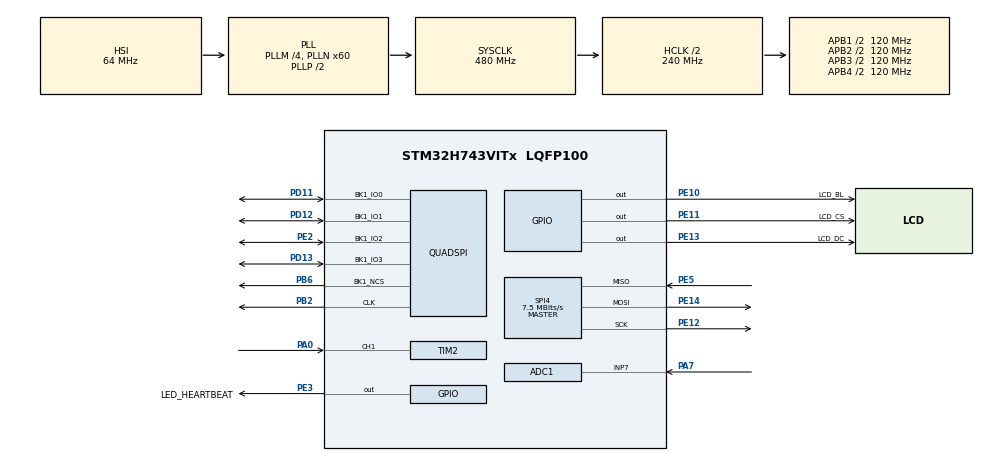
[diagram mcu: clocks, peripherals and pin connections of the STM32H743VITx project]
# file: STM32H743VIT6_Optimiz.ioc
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ADC1.Channel-3\#ChannelRegularConversion=ADC_CHANNEL_7
ADC1.ContinuousConvMode=DISABLE
ADC1.ConversionDataManagement=ADC_CONVERSIONDATA_DMA_CIRCULAR
ADC1.ExternalTrigConv=ADC_EXTERNALTRIG_T6_TRGO
ADC1.NbrOfConversionFlag=1
ADC1.OffsetNumber-3\#ChannelRegularConversion=ADC_OFFSET_NONE
ADC1.OffsetSignedSaturation-3\#ChannelRegularConversion=DISABLE
ADC1.Rank-3\#ChannelRegularConversion=1
ADC1.Resolution=ADC_RESOLUTION_12B
ADC1.SamplingTime-3\#ChannelRegularConversion=ADC_SAMPLETIME_1CYCLE_5
ADC1.master=1
CORTEX_M7.default_mode_Activation=1
Dma.ADC1.0.Direction=DMA_PERIPH_TO_MEMORY
Dma.ADC1.0.EventEnable=DISABLE
Dma.ADC1.0.FIFOMode=DMA_FIFOMODE_DISABLE
Dma.ADC1.0.Instance=DMA1_Stream0
Dma.ADC1.0.MemDataAlignment=DMA_MDATAALIGN_HALFWORD
Dma.ADC1.0.MemInc=DMA_MINC_ENABLE
Dma.ADC1.0.Mode=DMA_CIRCULAR
Dma.ADC1.0.PeriphDataAlignment=DMA_PDATAALIGN_HALFWORD
Dma.ADC1.0.PeriphInc=DMA_PINC_DISABLE
Dma.ADC1.0.Polarity=HAL_DMAMUX_REQ_GEN_RISING
Dma.ADC1.0.Priority=DMA_PRIORITY_LOW
Dma.ADC1.0.RequestNumber=1
Dma.ADC1.0.SignalID=NONE
Dma.ADC1.0.SyncEnable=DISABLE
Dma.ADC1.0.SyncPolarity=HAL_DMAMUX_SYNC_NO_EVENT
Dma.ADC1.0.SyncRequestNumber=1
Dma.ADC1.0.SyncSignalID=NONE
Dma.Request0=ADC1
Mcu.Family=STM32H7
Mcu.Name=STM32H743VITx
Mcu.Package=LQFP100
NVIC.DMA1_Stream0_IRQn=true\:0\:0\:false\:false\:true\:false\:true\:true
NVIC.PriorityGroup=NVIC_PRIORITYGROUP_4
PA0.Signal=S_TIM2_CH1_ETR
PA7.Signal=ADCx_INP7
PB2.Mode=Single Bank 1
PB2.Signal=QUADSPI_CLK
PB6.Mode=Single Bank 1
PB6.Signal=QUADSPI_BK1_NCS
PC14-OSC32_IN\ (OSC32_IN).Mode=LSE-External-Oscillator
PC14-OSC32_IN\ (OSC32_IN).Signal=RCC_OSC32_IN
PC15-OSC32_OUT\ (OSC32_OUT).Mode=LSE-External-Oscillator
PC15-OSC32_OUT\ (OSC32_OUT).Signal=RCC_OSC32_OUT
PD11.Mode=Single Bank 1
PD11.Signal=QUADSPI_BK1_IO0
PD12.Mode=Single Bank 1
PD12.Signal=QUADSPI_BK1_IO1
PD13.Mode=Single Bank 1
PD13.Signal=QUADSPI_BK1_IO3
PE10.GPIO_Label=LCD_BL
PE10.PinState=GPIO_PIN_RESET
PE10.Signal=GPIO_Output
PE11.GPIO_Label=LCD_CS
PE11.GPIO_Speed=GPIO_SPEED_FREQ_VERY_HIGH
PE11.Signal=GPIO_Output
PE12.Mode=Full_Duplex_Master
PE12.Signal=SPI4_SCK
PE13.GPIO_Label=LCD_DC
PE13.GPIO_Speed=GPIO_SPEED_FREQ_VERY_HIGH
PE13.Signal=GPIO_Output
PE14.Mode=Full_Duplex_Master
PE14.Signal=SPI4_MOSI
PE2.Mode=Single Bank 1
PE2.Signal=QUADSPI_BK1_IO2
PE3.GPIO_Label=LED_HEARTBEAT
PE3.Signal=GPIO_Output
PE5.Mode=Full_Duplex_Master
PE5.Signal=SPI4_MISO
PH0-OSC_IN\ (PH0).Mode=HSE-External-Oscillator
PH0-OSC_IN\ (PH0).Signal=RCC_OSC_IN
PH1-OSC_OUT\ (PH1).Mode=HSE-External-Oscillator
PH1-OSC_OUT\ (PH1).Signal=RCC_OSC_OUT
ProjectManager.HeapSize=0x200
ProjectManager.StackSize=0x400
ProjectManager.TargetToolchain=STM32CubeIDE
QUADSPI.ChipSelectHighTime=QSPI_CS_HIGH_TIME_8_CYCLE
QUADSPI.ClockPrescaler=16
QUADSPI.FlashSize=23
QUADSPI.SampleShifting=QSPI_SAMPLE_SHIFTING_HALFCYCLE
RCC.ADCFreq_Value=80000000
RCC.APB1Freq_Value=120000000
RCC.APB2Freq_Value=120000000
RCC.APB3Freq_Value=120000000
RCC.APB4Freq_Value=120000000
RCC.CortexFreq_Value=480000000
RCC.D1PPRE=RCC_APB3_DIV2
RCC.D2PPRE1=RCC_APB1_DIV2
RCC.D2PPRE2=RCC_APB2_DIV2
RCC.D3PPRE=RCC_APB4_DIV2
RCC.DIVM1=4
RCC.DIVM2=4
RCC.DIVN1=60
RCC.DIVN2=10
RCC.HCLKFreq_Value=240000000
RCC.HPRE=RCC_HCLK_DIV2
RCC.PLL2FRACN=0
RCC.PLL3FRACN=0
RCC.PLLFRACN=0
RCC.SYSCLKFreq_VALUE=480000000
RCC.SYSCLKSource=RCC_SYSCLKSOURCE_PLLCLK
RCC.USBFreq_Value=480000000
SH.ADCx_INP7.0=ADC1_INP7,IN7-Single-Ended
SH.S_TIM2_CH1_ETR.0=TIM2_CH1,TriggerSource_TI1FP1
SPI4.BaudRatePrescaler=SPI_BAUDRATEPRESCALER_16
SPI4.CLKPhase=SPI_PHASE_1EDGE
SPI4.CLKPolarity=SPI_POLARITY_LOW
SPI4.CalculateBaudRate=7.5 MBits/s
SPI4.DataSize=SPI_DATASIZE_8BIT
SPI4.Direction=SPI_DIRECTION_2LINES
SPI4.Mode=SPI_MODE_MASTER
SPI4.VirtualType=VM_MASTER
TIM6.AutoReloadPreload=TIM_AUTORELOAD_PRELOAD_DISABLE
TIM6.Period=8
TIM6.Prescaler=5999
TIM6.TIM_MasterOutputTrigger=TIM_TRGO_UPDATE
VP_MEMORYMAP_VS_MEMORYMAP.Mode=CurAppReg
VP_TIM2_VS_ControllerModeClock.Mode=Clock Mode
VP_TIM6_VS_ClockSourceINT.Mode=Enable_Timer
board=custom

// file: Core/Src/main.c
/* USER CODE BEGIN Header */
/**
  ******************************************************************************
  * @file           : main.c
  * @brief          : Main program body
  ******************************************************************************
  * @attention
  *
  * Copyright (c) 2026 STMicroelectronics.
  * All rights reserved.
  *
  * This software is licensed under terms that can be found in the LICENSE file
  * in the root directory of this software component.
  * If no LICENSE file comes with this software, it is provided AS-IS.
  *
  ******************************************************************************
  */
/* USER CODE END Header */
#include "main.h"

/* USER CODE BEGIN Includes */
#include "st7735.h"
#include <stdio.h>
#include "w25qxx_qspi.h"
#include <string.h>

/* USER CODE END Includes */

ADC_HandleTypeDef hadc1;
DMA_HandleTypeDef hdma_adc1;

QSPI_HandleTypeDef hqspi;

SPI_HandleTypeDef hspi4;

TIM_HandleTypeDef htim2;
TIM_HandleTypeDef htim6;

/* USER CODE BEGIN PV */

static uint32_t t_led = 0;//Для блинка

static volatile uint32_t W_THRESH = 7;   // начни с 3..10, иначе будет шум
static volatile uint32_t W_DEADBAND_MS = 10; // минимум 10мс между событиями (записи лога)

// Частота
static uint32_t cnt_prev = 0;
static uint32_t t_prev_ms = 0;
static uint32_t freq_hz = 0;

// Вес (ADC)
#define ADC_BUF_LEN 256
static uint16_t adc_buf[ADC_BUF_LEN];

static volatile uint32_t w_avg = 0;
static volatile uint32_t w_filt = 0;  // integer IIR filter state (no float)
static volatile uint32_t w0 = 0;
static volatile uint32_t events = 0;
static volatile uint32_t adc_half_cb = 0;
static volatile uint32_t adc_full_cb = 0;

// Минимальный и максимальный фиксированный вес
static volatile uint16_t w_min = 0xFFFF;
static volatile uint16_t w_max = 0;

// Структура записи
typedef struct __attribute__((packed)) {
	uint32_t n;        // номер записи
	uint32_t freq_hz;  // частота на момент события
	int16_t  dW;       // дельта веса
	uint8_t  dir;      // 1=up, 0=down
	uint8_t  rsv0;     // выравнивание
	uint32_t t_ms;     // HAL_GetTick() на момент события
} log_rec_t;           // 16 bytes

// Параметры памяти
#define LOG_PAGE_SIZE     256UL
#define LOG_SECTOR_SIZE   4096UL
#define LOG_BASE_ADDR     0x000000UL
#define LOG_TOTAL_BYTES   (8UL * 1024UL * 1024UL)
#define LOG_END_ADDR      (LOG_BASE_ADDR + LOG_TOTAL_BYTES)
#define LOG_TOTAL_KB      (LOG_TOTAL_BYTES / 1024UL)

static uint8_t  log_pages[2][LOG_PAGE_SIZE];
static uint32_t log_pos[2] = {0, 0};

static volatile uint8_t log_wr_idx = 0;        // 0/1
static volatile uint8_t log_ready_mask = 0;    // bit0/page0, bit1/page1

static uint32_t log_write_addr = LOG_BASE_ADDR;
static uint32_t log_next_erase_sector = LOG_BASE_ADDR;

static uint32_t log_used_bytes = 0;
static uint32_t log_rec_no = 0;

static volatile uint8_t log_full = 0;
static volatile uint8_t log_error = 0;

static uint32_t log_last_flush_ms = 0;

static volatile uint32_t log_prog_to = 0;
static volatile uint32_t log_erase_to = 0;

/* USER CODE END PV */

void SystemClock_Config(void);
static void MPU_Config(void);
static void MX_GPIO_Init(void);
static void MX_DMA_Init(void);
static void MX_SPI4_Init(void);
static void MX_QUADSPI_Init(void);
static void MX_TIM2_Init(void);
static void MX_ADC1_Init(void);
static void MX_TIM6_Init(void);
/* USER CODE BEGIN PFP */
static void Log_Append(int16_t dW, uint8_t dir, uint32_t freq_hz_snapshot);
static void process_block(const uint16_t* p, uint32_t n);
/* USER CODE END PFP */

/* USER CODE BEGIN 0 */

void HAL_ADC_ConvHalfCpltCallback(ADC_HandleTypeDef *hadc)
{
	if (hadc->Instance == ADC1) {
		adc_half_cb++;
		process_block(&adc_buf[0], ADC_BUF_LEN/2);
	}
}

void HAL_ADC_ConvCpltCallback(ADC_HandleTypeDef *hadc)
{
	if (hadc->Instance == ADC1) {
		adc_full_cb++;
		process_block(&adc_buf[ADC_BUF_LEN/2], ADC_BUF_LEN/2);
	}
}

static void Freq_Task(uint32_t Tgate_ms)        //Измерение частоты
{
	uint32_t t = HAL_GetTick();
	if ((t - t_prev_ms) < Tgate_ms) return;
	t_prev_ms += Tgate_ms;

	uint32_t cnt_now = __HAL_TIM_GET_COUNTER(&htim2);
	uint32_t delta = cnt_now - cnt_prev;
	cnt_prev = cnt_now;

	freq_hz = (uint32_t)((uint64_t)delta * 1000u / Tgate_ms);
}

static inline uint32_t avg_u16(const uint16_t* p, uint32_t n)
{
	/* Sum fits into 32-bits for n <= 256 (65535*256 = 16776960) -> use uint32_t for faster arithmetic */
	uint32_t s = 0;
	const uint16_t *end = p + n;
	while (p < end) {
		s += *p++;
	}
	return s / n;
}

static void process_block(const uint16_t* p, uint32_t n)
{
	uint32_t a = avg_u16(p, n);
	w_avg = a;

	if (a < w_min) w_min = (uint16_t)a;
	if (a > w_max) w_max = (uint16_t)a;

	/* Integer exponential smoothing: alpha = 1/5 -> w_filt = (4*w_filt + a)/5
	   avoids floating-point math and is sufficiently responsive for this use-case */
	const uint32_t alpha_num = 1U;
	const uint32_t alpha_den = 5U;
	w_filt = ((alpha_den - alpha_num) * w_filt + alpha_num * a) / alpha_den;

	int32_t wf = (int32_t)w_filt;          // filtered value
	int32_t dW = wf - (int32_t)w0;
	uint32_t adW = (dW >= 0) ? (uint32_t)dW : (uint32_t)(-dW);

	static uint32_t t_last_evt = 0;
	uint32_t t = HAL_GetTick();

	if (adW >= W_THRESH && (t - t_last_evt) >= W_DEADBAND_MS)
	{
		t_last_evt = t;

		events++;
		w0 = (uint32_t)wf;

		uint8_t dir = (dW >= 0) ? 1 : 0;
		Log_Append((int16_t)dW, dir, freq_hz);
	}
}

static inline void fmt_freq(char *out, size_t out_sz, uint32_t f_hz)
{
	/* Kept logic but marked inline to allow compiler to optimize away call overhead in tight UI path */
	if (f_hz < 1000000UL)
	{
		uint32_t f_khz10 = (f_hz + 50UL) / 100UL;
		uint32_t khz = f_khz10 / 10UL;
		uint32_t dec = f_khz10 % 10UL;
		snprintf(out, out_sz, "%lu.%lu kHz", (unsigned long)khz, (unsigned long)dec);
	}
	else
	{
		uint32_t mhz = f_hz / 1000000UL;
		uint32_t frac = (f_hz % 1000000UL + 500UL) / 1000UL;
		if (frac >= 1000UL) { mhz++; frac = 0; }
		snprintf(out, out_sz, "%lu.%03lu MHz", (unsigned long)mhz, (unsigned long)frac);
	}
}

/* Lightweight integer -> string helpers to avoid snprintf in UI path */
static inline int u32_to_str(char *buf, uint32_t v)
{
	char tmp[12];
	int p = 0;
	if (v == 0) tmp[p++] = '0';
	while (v != 0 && p < (int)sizeof(tmp)) { tmp[p++] = (char)('0' + (v % 10)); v /= 10; }
	int idx = 0;
	for (int i = p - 1; i >= 0; --i) buf[idx++] = tmp[i];
	buf[idx] = '\0';
	return idx;
}

static inline void u32_to_str_pad(char *out, size_t out_sz, uint32_t v, int width)
{
	char tmp[16];
	int len = u32_to_str(tmp, v);
	int pad = width - len;
	if (pad < 0) pad = 0;
	size_t i = 0;
	while (pad-- > 0 && i + 1 < out_sz) out[i++] = ' ';
	for (int j = 0; j < len && i + 1 < out_sz; ++j) out[i++] = tmp[j];
	out[i] = '\0';
}

// y-координаты под scale=2 (высота строки 16px)
#define UI_Y0  0
#define UI_Y1  20
#define UI_Y2  38
#define UI_Y3  60

static void UI_Task(uint32_t period_ms)
{
	static uint32_t t_prev = 0;
	uint32_t t = HAL_GetTick();
	if ((t - t_prev) < period_ms) return;
	t_prev += period_ms;

	char sL[24];
	char sR[24];
	char s[24];

	// 1) A/E
	sL[0] = 'A'; sL[1] = ':'; sL[2] = '\0';
	u32_to_str_pad(&sL[2], sizeof(sL) - 2, w_avg, 4);
	sR[0] = 'E'; sR[1] = ':'; sR[2] = '\0';
	u32_to_str_pad(&sR[2], sizeof(sR) - 2, events, 4);
	ST7735_DrawString5x7_Scaled(0,   UI_Y0, sL, ST7735_WHITE, ST7735_BLACK, 2);
	ST7735_DrawString5x7_Scaled(84,  UI_Y0, sR, ST7735_WHITE, ST7735_BLACK, 2);

	// 2) Freq
	u32_to_str_pad(s, sizeof(s), freq_hz, 7);
	ST7735_DrawString5x7_Scaled(0,   UI_Y1, "F:", ST7735_CYAN, ST7735_BLACK, 2);
	ST7735_DrawString5x7_Scaled(24,  UI_Y1, s,    ST7735_CYAN, ST7735_BLACK, 2);
	ST7735_DrawString5x7_Scaled(132, UI_Y1, "Hz", ST7735_CYAN, ST7735_BLACK, 2);

	// 3) LOG
	uint32_t used_kb = log_used_bytes / 1024UL;
	uint32_t pct = (LOG_TOTAL_BYTES == 0) ? 0 : (log_used_bytes * 100UL) / LOG_TOTAL_BYTES;

	if (log_error) {
		/* constant small string */
		s[0] = 'L'; s[1] = 'O'; s[2] = 'G'; s[3] = ' '; s[4] = 'E'; s[5] = 'R'; s[6] = 'R'; s[7] = '\0';
	} else if (log_full) {
		char tbuf[24];
		tbuf[0] = '\0';
		u32_to_str(tbuf, used_kb);
		/* build "LOG FULL <n>KB" */
		s[0] = 'L'; s[1] = 'O'; s[2] = 'G'; s[3] = ' '; s[4] = 'F'; s[5] = 'U'; s[6] = 'L'; s[7] = 'L'; s[8] = ' ';
		int p = 9;
		for (int i = 0; tbuf[i] != '\0' && p + 1 < (int)sizeof(s); ++i) s[p++] = tbuf[i];
		if (p + 3 < (int)sizeof(s)) { s[p++] = 'K'; s[p++] = 'B'; }
		s[p] = '\0';
	} else {
		char t1[16]; char t2[16];
		u32_to_str(t1, used_kb);
		u32_to_str(t2, pct);
		/* build "LOG:<used>KB <pct>%" */
		int p = 0;
		const char *hdr = "LOG:";
		for (int i = 0; hdr[i] != '\0' && p + 1 < (int)sizeof(s); ++i) s[p++] = hdr[i];
		for (int i = 0; t1[i] != '\0' && p + 1 < (int)sizeof(s); ++i) s[p++] = t1[i];
		if (p + 3 < (int)sizeof(s)) { s[p++] = 'K'; s[p++] = 'B'; s[p++] = ' '; }
		for (int i = 0; t2[i] != '\0' && p + 1 < (int)sizeof(s); ++i) s[p++] = t2[i];
		if (p + 1 < (int)sizeof(s)) s[p++] = '%';
		s[p] = '\0';
	}
	ST7735_DrawString5x7_Scaled(0, UI_Y2, s, ST7735_YELLOW, ST7735_BLACK, 2);

	// 4) опционально: таймауты
	/* build "TO E:<erase> P:<prog>" */
	char t_e[12]; char t_p[12];
	u32_to_str(t_e, log_erase_to);
	u32_to_str(t_p, log_prog_to);
	int pos = 0;
	const char *hdr = "TO E:";
	for (int i = 0; hdr[i] != '\0' && pos + 1 < (int)sizeof(s); ++i) s[pos++] = hdr[i];
	for (int i = 0; t_e[i] != '\0' && pos + 1 < (int)sizeof(s); ++i) s[pos++] = t_e[i];
	if (pos + 4 < (int)sizeof(s)) { s[pos++] = ' '; s[pos++] = 'P'; s[pos++] = ':'; }
	for (int i = 0; t_p[i] != '\0' && pos + 1 < (int)sizeof(s); ++i) s[pos++] = t_p[i];
	s[pos] = '\0';
	ST7735_DrawString5x7_Scaled(0, UI_Y3, s, ST7735_GREEN, ST7735_BLACK, 2);
}

// функция очистки памяти
static void Log_EraseIfNeeded(uint32_t addr)
{
	/* LOG_SECTOR_SIZE is 4096 (power of two) -> compute sector base with bitmask (faster than divide) */
	uint32_t sector_base = addr & ~(LOG_SECTOR_SIZE - 1U);

	if (log_next_erase_sector <= sector_base)
	{
		uint8_t st = W25qxx_EraseSector(sector_base);

		if (st == w25qxx_TIMEOUT) log_erase_to++;
		if (st != w25qxx_OK) { log_error = 1; return; }

		log_next_erase_sector = sector_base + LOG_SECTOR_SIZE;
	}
}

// Функция записи в память
static void Log_Append(int16_t dW, uint8_t dir, uint32_t freq_hz_snapshot)
{
	if (log_full || log_error) return;

	log_rec_t r;
	r.n = log_rec_no++;
	r.freq_hz = freq_hz_snapshot;
	r.dW = dW;
	r.dir = dir;
	r.rsv0 = 0;
	r.t_ms = HAL_GetTick();

	/* Make modifications atomic because this function may be called from IRQ context
	   (ADC DMA callbacks). We keep the critical section as short as possible. */
	uint32_t prim = __get_PRIMASK();
	__disable_irq();

	uint8_t i = (uint8_t)log_wr_idx;

	/* if current page already ready — switch to the other */
	if (log_ready_mask & (1U << i)) {
		uint8_t j = (uint8_t)(i ^ 1U);
		if (log_ready_mask & (1U << j)) {
			__set_PRIMASK(prim);
			return; // both busy -> drop
		}
		log_wr_idx = j;
		i = j;
	}

	/* if record doesn't fit -> mark current ready and switch */
	if (log_pos[i] + sizeof(r) > LOG_PAGE_SIZE) {
		log_ready_mask |= (1U << i);

		uint8_t j = (uint8_t)(i ^ 1U);
		if (log_ready_mask & (1U << j)) {
			__set_PRIMASK(prim);
			return;
		}
		log_wr_idx = j;
		i = j;

		if (log_pos[i] + sizeof(r) > LOG_PAGE_SIZE) {
			__set_PRIMASK(prim);
			return;
		}
	}

	/* copy record into page and update position */
	memcpy(&log_pages[i][log_pos[i]], &r, sizeof(r));
	log_pos[i] += sizeof(r);

	if (log_pos[i] == LOG_PAGE_SIZE) {
		log_ready_mask |= (1U << i);
		log_wr_idx ^= 1U;
	}

	__set_PRIMASK(prim);
}

static uint8_t Log_EraseSector_Safe(uint32_t addr)
{
	uint8_t st = W25qxx_EraseSector(addr);
	if (st != w25qxx_OK) log_error = 1;
	return st;
}

static uint8_t Log_PageProgram_Safe(uint8_t *buf, uint32_t addr, uint32_t sz)
{
	uint8_t st = W25qxx_PageProgram(buf, addr, sz);
	if (st == w25qxx_TIMEOUT) log_prog_to++;
	if (st != w25qxx_OK) log_error = 1;
	return st;
}

// Пометить страницу "готова к записи" из IRQ (очень коротко)
static inline void Log_MarkPageReadyFromISR(uint8_t page_idx)
{
	// атомарно выставляем бит
	uint32_t primask = __get_PRIMASK();
	__disable_irq();
	log_ready_mask |= (1U << page_idx);
	__set_PRIMASK(primask);
}

// Задача сброса готовых страниц во Flash.
// Вызывать только из main while(1), НЕ из IRQ.
static void Log_FlushTask(void)
{
	if (log_full || log_error) return;

	// Если дошли до конца области лога — считаем память заполненной
	if (log_write_addr + LOG_PAGE_SIZE > LOG_END_ADDR) {
		log_full = 1;
		return;
	}

	// Снимем маску готовности атомарно, чтобы не спорить с IRQ
	uint8_t ready;
	__disable_irq();
	ready = log_ready_mask;
	__enable_irq();

	if (!ready) return;

	// Пишем по одной странице за вызов (чтобы не "подвешивать" UI надолго)
	uint8_t page = (ready & 0x01) ? 0 : 1;

	// Перед тем как писать страницу page, гарантируем что она реально готова
	// и больше не будет дописываться (бит ready уже выставлен).
	// Адрес под запись берём общий log_write_addr (последовательная запись).
	Log_EraseIfNeeded(log_write_addr);
	if (log_error) return;

	// Пишем ровно 256 байт (как задано LOG_PAGE_SIZE)
	if (Log_PageProgram_Safe(log_pages[page], log_write_addr, LOG_PAGE_SIZE) != w25qxx_OK) {
		// log_error уже выставится внутри Safe-функции
		return;
	}

	// Успешно записали страницу -> обновляем счётчики
	log_write_addr += LOG_PAGE_SIZE;
	log_used_bytes += LOG_PAGE_SIZE;

	// Освобождаем страницу для дальнейших записей: делаем это атомарно
	__disable_irq();
	log_pos[page] = 0;
	log_ready_mask &= (uint8_t)~(1U << page);
	__enable_irq();
}

/* USER CODE END 0 */

int main(void)
{

  /* MPU Configuration--------------------------------------------------------*/
  MPU_Config();

  /* MCU Configuration--------------------------------------------------------*/

  /* Reset of all peripherals, Initializes the Flash interface and the Systick. */
  HAL_Init();

  /* Configure the system clock */
  SystemClock_Config();

  /* Initialize all configured peripherals */
  MX_GPIO_Init();
  MX_DMA_Init();
  MX_SPI4_Init();
  MX_QUADSPI_Init();
  MX_TIM2_Init();
  MX_ADC1_Init();
  MX_TIM6_Init();
  /* USER CODE BEGIN 2 */

  // 1) Запускаем TIM2 (счётчик импульсов)
	HAL_TIM_Base_Start(&htim2);

	// 2) Запускаем TIM6 (даёт TRGO для ADC)
	HAL_TIM_Base_Start(&htim6);

	// 3) Запускаем ADC1 по триггеру TIM6 + DMA circular
	HAL_ADC_Start_DMA(&hadc1, (uint32_t*)adc_buf, ADC_BUF_LEN);

  //  HAL_GPIO_WritePin(GPIOE, LCD_BL_Pin, GPIO_PIN_RESET); // подсветка ON (active-low)

	HAL_Delay(100);
	w0 = w_avg;   //не будет “всплеска” событий при старте.

	ST7735_Init();
	ST7735_FillScreen(ST7735_BLACK);// Очищаем весь экран

	w25qxx_Init();

	log_used_bytes = 0;
	log_rec_no = 0;

	log_write_addr = LOG_BASE_ADDR;
	log_next_erase_sector = LOG_BASE_ADDR;

	log_pos[0] = 0;
	log_pos[1] = 0;

	log_wr_idx = 0;
	log_ready_mask = 0;

	log_full = 0;
	log_error = 0;

	log_last_flush_ms = HAL_GetTick();

  /* USER CODE END 2 */

  /* Infinite loop */
  /* USER CODE BEGIN WHILE */

	while (1)
	{
		uint32_t now = HAL_GetTick();

		// flush не чаще чем раз в 50мс
		if (!log_full && !log_error && (now - log_last_flush_ms) >= 500)
		{
			log_last_flush_ms = now;

			__disable_irq();
			uint8_t i = (uint8_t)log_wr_idx;
			if (!(log_ready_mask & (1U << i)) && log_pos[i] > 0) {
				log_ready_mask |= (1U << i);
			} else {
				uint8_t j = (uint8_t)(i ^ 1U);
				if (!(log_ready_mask & (1U << j)) && log_pos[j] > 0) {
					log_ready_mask |= (1U << j);
				}
			}
			__enable_irq();
		}

		// 1) Сброс готовых страниц во Flash
		Log_FlushTask();

		// 2) UI/измерения
		Freq_Task(20);
		UI_Task(100);

   // БЛИНК
		if (HAL_GetTick() - t_led >= 250) {
			t_led = HAL_GetTick();
			HAL_GPIO_TogglePin(GPIOE, LED_HEARTBEAT_Pin);
		}
	/* USER CODE END WHILE */

  }
}

void SystemClock_Config(void)
{
  RCC_OscInitTypeDef RCC_OscInitStruct = {0};
  RCC_ClkInitTypeDef RCC_ClkInitStruct = {0};

  /** Supply configuration update enable
  */
  HAL_PWREx_ConfigSupply(PWR_LDO_SUPPLY);

  /** Configure the main internal regulator output voltage
  */
  __HAL_PWR_VOLTAGESCALING_CONFIG(PWR_REGULATOR_VOLTAGE_SCALE0);

  while(!__HAL_PWR_GET_FLAG(PWR_FLAG_VOSRDY)) {}

  /** Initializes the RCC Oscillators according to the specified parameters
  * in the RCC_OscInitTypeDef structure.
  */
  RCC_OscInitStruct.OscillatorType = RCC_OSCILLATORTYPE_HSI;
  RCC_OscInitStruct.HSIState = RCC_HSI_DIV1;
  RCC_OscInitStruct.HSICalibrationValue = RCC_HSICALIBRATION_DEFAULT;
  RCC_OscInitStruct.PLL.PLLState = RCC_PLL_ON;
  RCC_OscInitStruct.PLL.PLLSource = RCC_PLLSOURCE_HSI;
  RCC_OscInitStruct.PLL.PLLM = 4;
  RCC_OscInitStruct.PLL.PLLN = 60;
  RCC_OscInitStruct.PLL.PLLP = 2;
  RCC_OscInitStruct.PLL.PLLQ = 2;
  RCC_OscInitStruct.PLL.PLLR = 2;
  RCC_OscInitStruct.PLL.PLLRGE = RCC_PLL1VCIRANGE_3;
  RCC_OscInitStruct.PLL.PLLVCOSEL = RCC_PLL1VCOWIDE;
  RCC_OscInitStruct.PLL.PLLFRACN = 0;
  if (HAL_RCC_OscConfig(&RCC_OscInitStruct) != HAL_OK)
  {
	Error_Handler();
  }

  /** Initializes the CPU, AHB and APB buses clocks
  */
  RCC_ClkInitStruct.ClockType = RCC_CLOCKTYPE_HCLK|RCC_CLOCKTYPE_SYSCLK
							  |RCC_CLOCKTYPE_PCLK1|RCC_CLOCKTYPE_PCLK2
							  |RCC_CLOCKTYPE_D3PCLK1|RCC_CLOCKTYPE_D1PCLK1;
  RCC_ClkInitStruct.SYSCLKSource = RCC_SYSCLKSOURCE_PLLCLK;
  RCC_ClkInitStruct.SYSCLKDivider = RCC_SYSCLK_DIV1;
  RCC_ClkInitStruct.AHBCLKDivider = RCC_HCLK_DIV2;
  RCC_ClkInitStruct.APB3CLKDivider = RCC_APB3_DIV2;
  RCC_ClkInitStruct.APB1CLKDivider = RCC_APB1_DIV2;
  RCC_ClkInitStruct.APB2CLKDivider = RCC_APB2_DIV2;
  RCC_ClkInitStruct.APB4CLKDivider = RCC_APB4_DIV2;

  if (HAL_RCC_ClockConfig(&RCC_ClkInitStruct, FLASH_LATENCY_4) != HAL_OK)
  {
	Error_Handler();
  }
}

static void MX_ADC1_Init(void)
{

  ADC_MultiModeTypeDef multimode = {0};
  ADC_ChannelConfTypeDef sConfig = {0};

  /** Common config
  */
  hadc1.Instance = ADC1;
  hadc1.Init.ClockPrescaler = ADC_CLOCK_ASYNC_DIV1;
  hadc1.Init.Resolution = ADC_RESOLUTION_12B;
  hadc1.Init.ScanConvMode = ADC_SCAN_DISABLE;
  hadc1.Init.EOCSelection = ADC_EOC_SINGLE_CONV;
  hadc1.Init.LowPowerAutoWait = DISABLE;
  hadc1.Init.ContinuousConvMode = DISABLE;
  hadc1.Init.NbrOfConversion = 1;
  hadc1.Init.DiscontinuousConvMode = DISABLE;
  hadc1.Init.ExternalTrigConv = ADC_EXTERNALTRIG_T6_TRGO;
  hadc1.Init.ExternalTrigConvEdge = ADC_EXTERNALTRIGCONVEDGE_RISING;
  hadc1.Init.ConversionDataManagement = ADC_CONVERSIONDATA_DMA_CIRCULAR;
  hadc1.Init.Overrun = ADC_OVR_DATA_PRESERVED;
  hadc1.Init.LeftBitShift = ADC_LEFTBITSHIFT_NONE;
  hadc1.Init.OversamplingMode = DISABLE;
  hadc1.Init.Oversampling.Ratio = 1;
  if (HAL_ADC_Init(&hadc1) != HAL_OK)
  {
	Error_Handler();
  }

  /** Configure the ADC multi-mode
  */
  multimode.Mode = ADC_MODE_INDEPENDENT;
  if (HAL_ADCEx_MultiModeConfigChannel(&hadc1, &multimode) != HAL_OK)
  {
	Error_Handler();
  }

  /** Configure Regular Channel
  */
  sConfig.Channel = ADC_CHANNEL_7;
  sConfig.Rank = ADC_REGULAR_RANK_1;
  sConfig.SamplingTime = ADC_SAMPLETIME_1CYCLE_5;
  sConfig.SingleDiff = ADC_SINGLE_ENDED;
  sConfig.OffsetNumber = ADC_OFFSET_NONE;
  sConfig.Offset = 0;
  sConfig.OffsetSignedSaturation = DISABLE;
  if (HAL_ADC_ConfigChannel(&hadc1, &sConfig) != HAL_OK)
  {
	Error_Handler();
  }

}

static void MX_QUADSPI_Init(void)
{

  /* QUADSPI parameter configuration*/
  hqspi.Instance = QUADSPI;
  hqspi.Init.ClockPrescaler = 16;
  hqspi.Init.FifoThreshold = 1;
  hqspi.Init.SampleShifting = QSPI_SAMPLE_SHIFTING_HALFCYCLE;
  hqspi.Init.FlashSize = 23;
  hqspi.Init.ChipSelectHighTime = QSPI_CS_HIGH_TIME_8_CYCLE;
  hqspi.Init.ClockMode = QSPI_CLOCK_MODE_0;
  hqspi.Init.FlashID = QSPI_FLASH_ID_1;
  hqspi.Init.DualFlash = QSPI_DUALFLASH_DISABLE;
  if (HAL_QSPI_Init(&hqspi) != HAL_OK)
  {
	Error_Handler();
  }

}

static void MX_SPI4_Init(void)
{

  /* SPI4 parameter configuration*/
  hspi4.Instance = SPI4;
  hspi4.Init.Mode = SPI_MODE_MASTER;
  hspi4.Init.Direction = SPI_DIRECTION_2LINES;
  hspi4.Init.DataSize = SPI_DATASIZE_8BIT;
  hspi4.Init.CLKPolarity = SPI_POLARITY_LOW;
  hspi4.Init.CLKPhase = SPI_PHASE_1EDGE;
  hspi4.Init.NSS = SPI_NSS_SOFT;
  hspi4.Init.BaudRatePrescaler = SPI_BAUDRATEPRESCALER_16;
  hspi4.Init.FirstBit = SPI_FIRSTBIT_MSB;
  hspi4.Init.TIMode = SPI_TIMODE_DISABLE;
  hspi4.Init.CRCCalculation = SPI_CRCCALCULATION_DISABLE;
  hspi4.Init.CRCPolynomial = 0x0;
  hspi4.Init.NSSPMode = SPI_NSS_PULSE_ENABLE;
  hspi4.Init.NSSPolarity = SPI_NSS_POLARITY_LOW;
  hspi4.Init.FifoThreshold = SPI_FIFO_THRESHOLD_01DATA;
  hspi4.Init.TxCRCInitializationPattern = SPI_CRC_INITIALIZATION_ALL_ZERO_PATTERN;
  hspi4.Init.RxCRCInitializationPattern = SPI_CRC_INITIALIZATION_ALL_ZERO_PATTERN;
  hspi4.Init.MasterSSIdleness = SPI_MASTER_SS_IDLENESS_00CYCLE;
  hspi4.Init.MasterInterDataIdleness = SPI_MASTER_INTERDATA_IDLENESS_00CYCLE;
  hspi4.Init.MasterReceiverAutoSusp = SPI_MASTER_RX_AUTOSUSP_DISABLE;
  hspi4.Init.MasterKeepIOState = SPI_MASTER_KEEP_IO_STATE_DISABLE;
  hspi4.Init.IOSwap = SPI_IO_SWAP_DISABLE;
  if (HAL_SPI_Init(&hspi4) != HAL_OK)
  {
	Error_Handler();
  }

}

static void MX_TIM2_Init(void)
{

  TIM_SlaveConfigTypeDef sSlaveConfig = {0};
  TIM_MasterConfigTypeDef sMasterConfig = {0};

  htim2.Instance = TIM2;
  htim2.Init.Prescaler = 0;
  htim2.Init.CounterMode = TIM_COUNTERMODE_UP;
  htim2.Init.Period = 4294967295;
  htim2.Init.ClockDivision = TIM_CLOCKDIVISION_DIV1;
  htim2.Init.AutoReloadPreload = TIM_AUTORELOAD_PRELOAD_DISABLE;
  if (HAL_TIM_Base_Init(&htim2) != HAL_OK)
  {
	Error_Handler();
  }
  sSlaveConfig.SlaveMode = TIM_SLAVEMODE_EXTERNAL1;
  sSlaveConfig.InputTrigger = TIM_TS_TI1FP1;
  sSlaveConfig.TriggerPolarity = TIM_TRIGGERPOLARITY_RISING;
  sSlaveConfig.TriggerFilter = 0;
  if (HAL_TIM_SlaveConfigSynchro(&htim2, &sSlaveConfig) != HAL_OK)
  {
	Error_Handler();
  }
  sMasterConfig.MasterOutputTrigger = TIM_TRGO_RESET;
  sMasterConfig.MasterSlaveMode = TIM_MASTERSLAVEMODE_DISABLE;
  if (HAL_TIMEx_MasterConfigSynchronization(&htim2, &sMasterConfig) != HAL_OK)
  {
	Error_Handler();
  }

}

static void MX_TIM6_Init(void)
{

  TIM_MasterConfigTypeDef sMasterConfig = {0};

  htim6.Instance = TIM6;
  htim6.Init.Prescaler = 5999;
  htim6.Init.CounterMode = TIM_COUNTERMODE_UP;
  htim6.Init.Period = 8;
  htim6.Init.AutoReloadPreload = TIM_AUTORELOAD_PRELOAD_DISABLE;
  if (HAL_TIM_Base_Init(&htim6) != HAL_OK)
  {
	Error_Handler();
  }
  sMasterConfig.MasterOutputTrigger = TIM_TRGO_UPDATE;
  sMasterConfig.MasterSlaveMode = TIM_MASTERSLAVEMODE_DISABLE;
  if (HAL_TIMEx_MasterConfigSynchronization(&htim6, &sMasterConfig) != HAL_OK)
  {
	Error_Handler();
  }

}

static void MX_DMA_Init(void)
{

  /* DMA controller clock enable */
  __HAL_RCC_DMA1_CLK_ENABLE();

  /* DMA interrupt init */
  /* DMA1_Stream0_IRQn interrupt configuration */
  HAL_NVIC_SetPriority(DMA1_Stream0_IRQn, 0, 0);
  HAL_NVIC_EnableIRQ(DMA1_Stream0_IRQn);

}

static void MX_GPIO_Init(void)
{
  GPIO_InitTypeDef GPIO_InitStruct = {0};

  /* GPIO Ports Clock Enable */
  __HAL_RCC_GPIOE_CLK_ENABLE();
  __HAL_RCC_GPIOC_CLK_ENABLE();
  __HAL_RCC_GPIOH_CLK_ENABLE();
  __HAL_RCC_GPIOA_CLK_ENABLE();
  __HAL_RCC_GPIOB_CLK_ENABLE();
  __HAL_RCC_GPIOD_CLK_ENABLE();

  /*Configure GPIO pin Output Level */
  HAL_GPIO_WritePin(GPIOE, LED_HEARTBEAT_Pin|LCD_BL_Pin|LCD_CS_Pin|LCD_DC_Pin, GPIO_PIN_RESET);

  /*Configure GPIO pins : LED_HEARTBEAT_Pin LCD_BL_Pin */
  GPIO_InitStruct.Pin = LED_HEARTBEAT_Pin|LCD_BL_Pin;
  GPIO_InitStruct.Mode = GPIO_MODE_OUTPUT_PP;
  GPIO_InitStruct.Pull = GPIO_NOPULL;
  GPIO_InitStruct.Speed = GPIO_SPEED_FREQ_LOW;
  HAL_GPIO_Init(GPIOE, &GPIO_InitStruct);

  /*Configure GPIO pins : LCD_CS_Pin LCD_DC_Pin */
  GPIO_InitStruct.Pin = LCD_CS_Pin|LCD_DC_Pin;
  GPIO_InitStruct.Mode = GPIO_MODE_OUTPUT_PP;
  GPIO_InitStruct.Pull = GPIO_NOPULL;
  GPIO_InitStruct.Speed = GPIO_SPEED_FREQ_VERY_HIGH;
  HAL_GPIO_Init(GPIOE, &GPIO_InitStruct);

}

 /* MPU Configuration */

void MPU_Config(void)
{
  MPU_Region_InitTypeDef MPU_InitStruct = {0};

  /* Disables the MPU */
  HAL_MPU_Disable();

  /** Initializes and configures the Region and the memory to be protected
  */
  MPU_InitStruct.Enable = MPU_REGION_ENABLE;
  MPU_InitStruct.Number = MPU_REGION_NUMBER0;
  MPU_InitStruct.BaseAddress = 0x0;
  MPU_InitStruct.Size = MPU_REGION_SIZE_4GB;
  MPU_InitStruct.SubRegionDisable = 0x87;
  MPU_InitStruct.TypeExtField = MPU_TEX_LEVEL0;
  MPU_InitStruct.AccessPermission = MPU_REGION_NO_ACCESS;
  MPU_InitStruct.DisableExec = MPU_INSTRUCTION_ACCESS_DISABLE;
  MPU_InitStruct.IsShareable = MPU_ACCESS_SHAREABLE;
  MPU_InitStruct.IsCacheable = MPU_ACCESS_NOT_CACHEABLE;
  MPU_InitStruct.IsBufferable = MPU_ACCESS_NOT_BUFFERABLE;

  HAL_MPU_ConfigRegion(&MPU_InitStruct);
  /* Enables the MPU */
  HAL_MPU_Enable(MPU_PRIVILEGED_DEFAULT);

}

void Error_Handler(void)
{
  __disable_irq();
  while (1)
  {
  }
}
